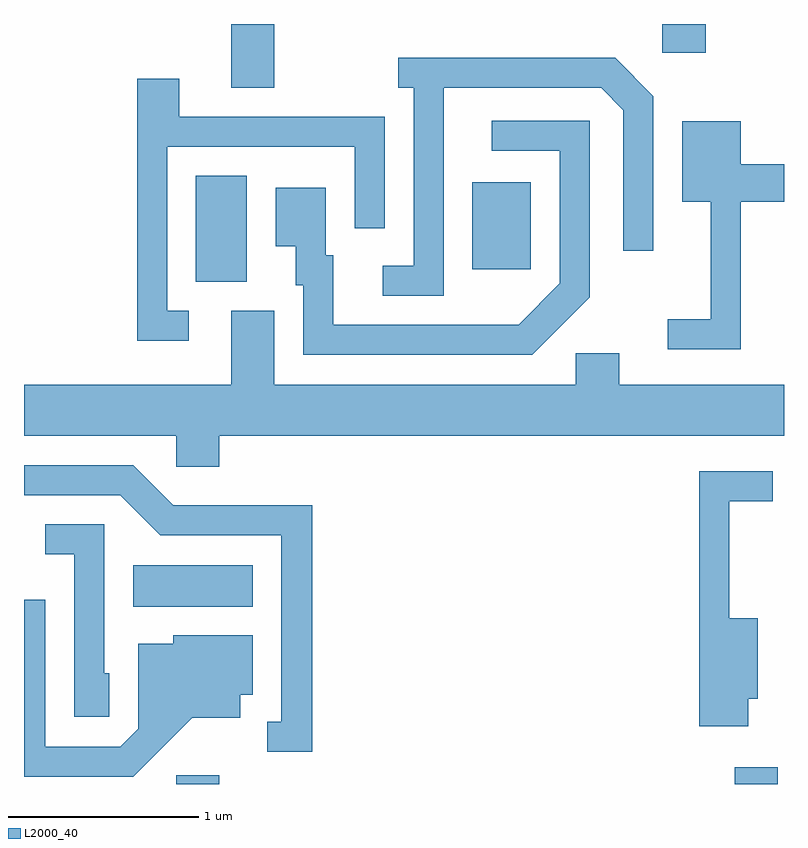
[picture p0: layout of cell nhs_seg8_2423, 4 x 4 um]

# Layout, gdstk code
import gdstk
lib = gdstk.Library(unit=1e-6, precision=1e-09)
def R(c, l, rs):  # rectangles x0, y0, x1, y1
    for r in rs: c.add(gdstk.rectangle(r[:2], r[2:], *l))
def P(c, l, *ps):  # polygons
    for p in ps: c.add(gdstk.Polygon(p, *l))
L2000_40 = (2000, 40)

nhs_seg8_2423 = lib.new_cell('nhs_seg8_2423')
R(nhs_seg8_2423, L2000_40, [(258.411,1852.342,258.639,1852.389), (261.351,1852.342,261.579,1852.429), (258.186,1853.276,258.814,1853.494), (258.516,1854.986,258.784,1855.544), (259.971,1855.051,260.279,1855.509), (258.701,1856.006,258.929,1856.342), (260.971,1856.191,261.199,1856.342)])
P(nhs_seg8_2423, L2000_40, [(259.819,1856.006),(260.649,1856.006),(260.766,1855.889),(260.766,1855.148),(260.924,1855.148),(260.924,1855.962),(260.722,1856.164),(259.582,1856.164),(259.582,1856.006),(259.661,1856.006),(259.661,1855.069),(259.498,1855.069),(259.498,1854.911),(259.819,1854.911)],
  [(258.478,1854.834),(258.364,1854.834),(258.364,1855.696),(259.351,1855.696),(259.351,1855.268),(259.509,1855.268),(259.509,1855.854),(258.429,1855.854),(258.429,1856.054),(258.206,1856.054),(258.206,1854.676),(258.478,1854.676)],
  [(260.589,1854.904),(260.589,1855.834),(260.073,1855.834),(260.073,1855.676),(260.431,1855.676),(260.431,1854.977),(260.214,1854.759),(259.239,1854.759),(259.239,1855.124),(259.199,1855.124),(259.199,1855.479),(258.936,1855.479),(258.936,1855.171),(259.041,1855.171),(259.041,1854.966),(259.081,1854.966),(259.081,1854.601),(260.287,1854.601)],
  [(261.384,1855.406),(261.611,1855.406),(261.611,1855.604),(261.384,1855.604),(261.384,1855.829),(261.076,1855.829),(261.076,1855.406),(261.226,1855.406),(261.226,1854.789),(260.998,1854.789),(260.998,1854.631),(261.384,1854.631)],
  [(258.639,1854.176),(261.611,1854.176),(261.611,1854.444),(260.744,1854.444),(260.744,1854.609),(260.516,1854.609),(260.516,1854.444),(258.929,1854.444),(258.929,1854.834),(258.701,1854.834),(258.701,1854.444),(257.611,1854.444),(257.611,1854.176),(258.411,1854.176),(258.411,1854.011),(258.639,1854.011)],
  [(259.129,1853.809),(258.397,1853.809),(258.187,1854.019),(257.611,1854.019),(257.611,1853.861),(258.118,1853.861),(258.329,1853.651),(258.966,1853.651),(258.966,1852.669),(258.892,1852.669),(258.892,1852.511),(259.129,1852.511)],
  [(261.424,1852.791),(261.474,1852.791),(261.474,1853.214),(261.324,1853.214),(261.324,1853.831),(261.553,1853.831),(261.553,1853.989),(261.166,1853.989),(261.166,1852.646),(261.424,1852.646)],
  [(258.059,1852.924),(258.034,1852.924),(258.034,1853.709),(257.723,1853.709),(257.723,1853.551),(257.876,1853.551),(257.876,1852.696),(258.059,1852.696)],
  [(258.497,1852.691),(258.749,1852.691),(258.749,1852.811),(258.814,1852.811),(258.814,1853.124),(258.396,1853.124),(258.396,1853.079),(258.211,1853.079),(258.211,1852.632),(258.118,1852.539),(257.724,1852.539),(257.724,1853.313),(257.611,1853.313),(257.611,1852.381),(258.187,1852.381)])

lib.write_gds('nhs_seg8_2423.gds')
